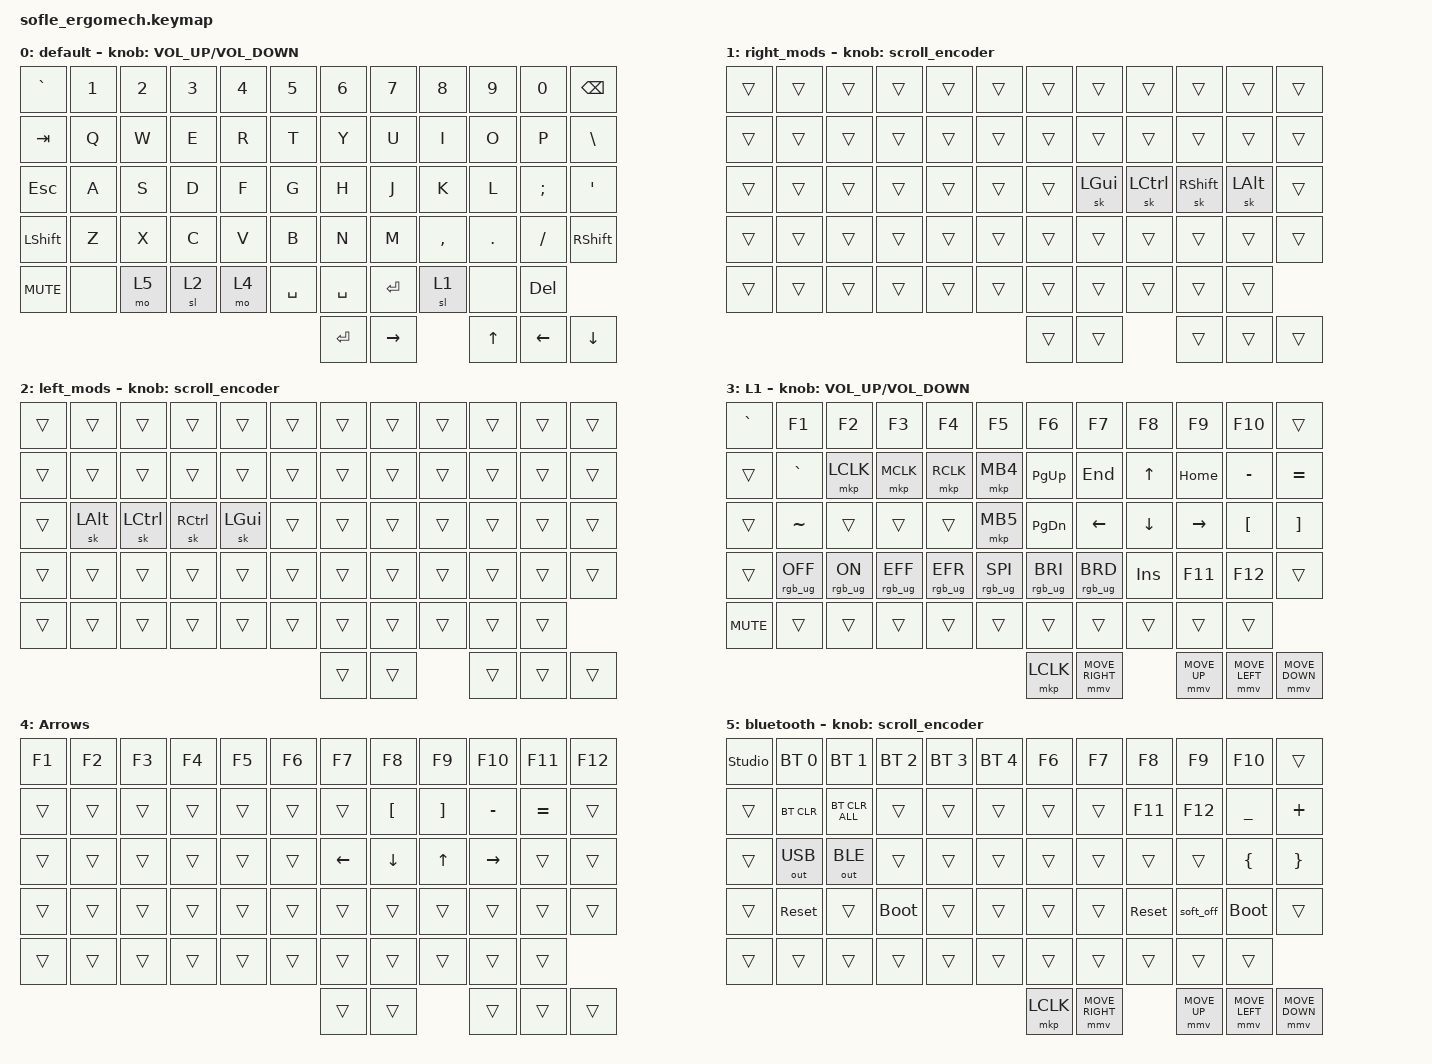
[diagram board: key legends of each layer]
#define ZMK_POINTING_DEFAULT_MOVE_VAL 1200  // 600
#define ZMK_POINTING_DEFAULT_SCRL_VAL 25   // 10

#include <input/processors.dtsi>
#include <behaviors.dtsi>
#include <dt-bindings/zmk/bt.h>
#include <dt-bindings/zmk/keys.h>
#include <dt-bindings/zmk/outputs.h>
#include <dt-bindings/zmk/pointing.h>
#include <dt-bindings/zmk/rgb.h>

&mmv_input_listener { input-processors = <&zip_xy_scaler 2 1>; };

&msc_input_listener { input-processors = <&zip_scroll_scaler 2 1>; };

&msc {
    acceleration-exponent = <1>;      // 0
    time-to-max-speed-ms = <100>;       // 300
    delay-ms = <0>;                   // 0
};

&mmv {
    time-to-max-speed-ms = <500>;
    acceleration-exponent = <1>;
    trigger-period-ms = <16>;
};

&soft_off { hold-time-ms = <2000>; };

&sl { release-after-ms = <500>; };

/ {
    scroll_encoder: scroll_encoder {
        compatible = "zmk,behavior-sensor-rotate";
        #sensor-binding-cells = <0>;
        bindings = <&msc SCRL_DOWN>, <&msc SCRL_UP>;

        tap-ms = <100>;
    };

    combos {
        compatible = "zmk,combos";

        softoff {
            bindings = <&soft_off>;
            key-positions = <13 26 37>;
        };
    };

    keymap {
        compatible = "zmk,keymap";

        Default {
            bindings = <
&kp GRAVE   &kp N1  &kp N2  &kp N3  &kp N4  &kp N5     &kp N6     &kp N7     &kp N8     &kp N9   &kp N0      &kp BACKSPACE
&kp TAB     &kp Q   &kp W   &kp E   &kp R   &kp T      &kp Y      &kp U      &kp I      &kp O    &kp P       &kp BSLH
&kp ESCAPE  &kp A   &kp S   &kp D   &kp F   &kp G      &kp H      &kp J      &kp K      &kp L    &kp SEMI    &kp APOS
&kp LSHFT   &kp Z   &kp X   &kp C   &kp V   &kp B      &kp N      &kp M      &kp COMMA  &kp DOT  &kp FSLH    &kp RIGHT_SHIFT
&kp C_MUTE  &none   &mo 5   &sl 2   &mo 4   &kp SPACE  &kp SPACE  &kp ENTER  &sl 1      &none    &kp DELETE
                                                       &kp ENTER  &kp RIGHT_ARROW  &kp UP_ARROW  &kp LEFT_ARROW  &kp DOWN_ARROW
            >;

            sensor-bindings = <&inc_dec_kp C_VOLUME_UP C_VOLUME_DOWN>;
            display-name = "default";
        };

        right_mods {
            bindings = <
&trans  &trans  &trans  &trans  &trans  &trans  &trans  &trans    &trans     &trans     &trans    &trans
&trans  &trans  &trans  &trans  &trans  &trans  &trans  &trans    &trans     &trans     &trans    &trans
&trans  &trans  &trans  &trans  &trans  &trans  &trans  &sk LGUI  &sk LCTRL  &sk RSHFT  &sk LALT  &trans
&trans  &trans  &trans  &trans  &trans  &trans  &trans  &trans    &trans     &trans     &trans    &trans
&trans  &trans  &trans  &trans  &trans  &trans  &trans  &trans    &trans     &trans     &trans
                                                &trans  &trans  &trans  &trans  &trans
            >;

            sensor-bindings = <&scroll_encoder>;
            display-name = "right_mods";
        };

        left_mods {
            bindings = <
&trans  &trans    &trans     &trans     &trans    &trans  &trans  &trans  &trans  &trans  &trans  &trans
&trans  &trans    &trans     &trans     &trans    &trans  &trans  &trans  &trans  &trans  &trans  &trans
&trans  &sk LALT  &sk LCTRL  &sk RCTRL  &sk LGUI  &trans  &trans  &trans  &trans  &trans  &trans  &trans
&trans  &trans    &trans     &trans     &trans    &trans  &trans  &trans  &trans  &trans  &trans  &trans
&trans  &trans    &trans     &trans     &trans    &trans  &trans  &trans  &trans  &trans  &trans
                                                          &trans  &trans  &trans  &trans  &trans
            >;

            sensor-bindings = <&scroll_encoder>;
            display-name = "left_mods";
        };

        layer_1 {
            bindings = <
&kp GRAVE   &kp F1           &kp F2          &kp F3           &kp F4           &kp F5           &kp F6           &kp F7           &kp F8      &kp F9     &kp F10           &trans
&trans      &kp GRAVE        &mkp LCLK       &mkp MCLK        &mkp RCLK        &mkp MB4         &kp PG_UP        &kp END          &kp UP      &kp HOME   &kp MINUS         &kp EQUAL
&trans      &kp TILDE        &trans          &trans           &trans           &mkp MB5         &kp PG_DN        &kp LEFT         &kp DOWN    &kp RIGHT  &kp LEFT_BRACKET  &kp RIGHT_BRACKET
&trans      &rgb_ug RGB_OFF  &rgb_ug RGB_ON  &rgb_ug RGB_EFF  &rgb_ug RGB_EFR  &rgb_ug RGB_SPI  &rgb_ug RGB_BRI  &rgb_ug RGB_BRD  &kp INSERT  &kp F11    &kp F12           &trans
&kp C_MUTE  &trans           &trans          &trans           &trans           &trans           &trans           &trans           &trans      &trans     &trans
                                                                                                &mkp LCLK  &mmv MOVE_RIGHT  &mmv MOVE_UP  &mmv MOVE_LEFT  &mmv MOVE_DOWN
            >;

            sensor-bindings = <&inc_dec_kp C_VOLUME_UP C_VOLUME_DOWN>;
            display-name = "L1";
        };

        Arrows {
            bindings = <
&kp F1  &kp F2  &kp F3  &kp F4  &kp F5  &kp F6  &kp F7    &kp F8    &kp F9    &kp F10    &kp F11    &kp F12
&trans  &trans  &trans  &trans  &trans  &trans  &trans    &kp LBKT  &kp RBKT  &kp MINUS  &kp EQUAL  &trans
&trans  &trans  &trans  &trans  &trans  &trans  &kp LEFT  &kp DOWN  &kp UP    &kp RIGHT  &trans     &trans
&trans  &trans  &trans  &trans  &trans  &trans  &trans    &trans    &trans    &trans     &trans     &trans
&trans  &trans  &trans  &trans  &trans  &trans  &trans    &trans    &trans    &trans     &trans
                                                &trans  &trans  &trans  &trans  &trans
            >;

        };

        bluetooth {
            bindings = <
&studio_unlock  &bt BT_SEL 0  &bt BT_SEL 1    &bt BT_SEL 2  &bt BT_SEL 3  &bt BT_SEL 4  &kp F6  &kp F7  &kp F8      &kp F9     &kp F10      &trans
&trans     &bt BT_CLR    &bt BT_CLR_ALL  &trans        &trans        &trans        &trans  &trans  &kp F11     &kp F12    &kp UNDER    &kp PLUS
&trans     &out OUT_USB  &out OUT_BLE    &trans        &trans        &trans        &trans  &trans  &trans      &trans     &kp LBRC     &kp RBRC
&trans     &sys_reset    &trans          &bootloader   &trans        &trans        &trans  &trans  &sys_reset  &soft_off  &bootloader  &trans
&trans     &trans        &trans          &trans        &trans        &trans        &trans  &trans  &trans      &trans     &trans
                                                                                   &mkp LCLK  &mmv MOVE_RIGHT  &mmv MOVE_UP  &mmv MOVE_LEFT  &mmv MOVE_DOWN
            >;

            sensor-bindings = <&scroll_encoder>;
            display-name = "bluetooth";
        };
    };
};
